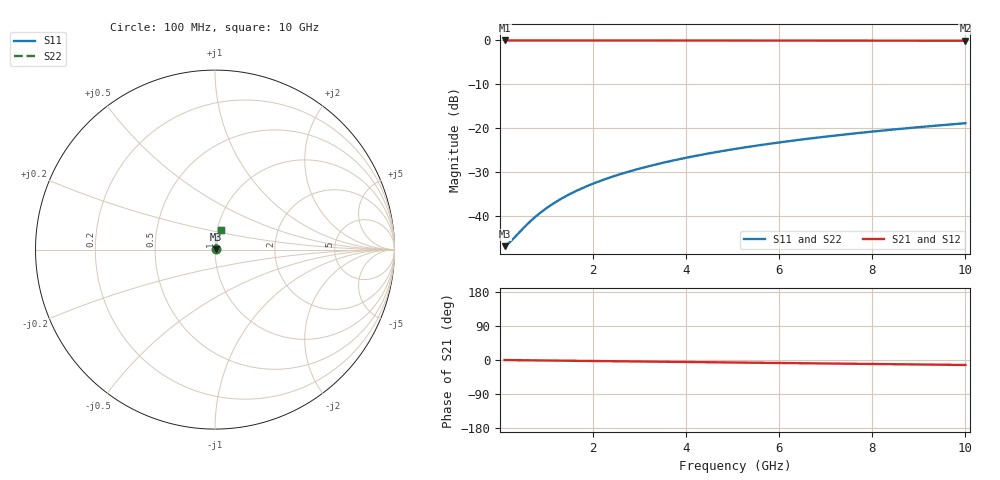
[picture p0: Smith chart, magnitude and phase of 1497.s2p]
# Hz S RI R 50.00
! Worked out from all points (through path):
!   100 points, 100 MHz to 10 GHz, reference 50 ohm
!   highest |S21| = -0.04 dB at 100 MHz (marker M1); lowest = -0.1 dB at 10 GHz (marker M2)
!   group delay of S21, straight-line fit = 3.64 ps
!   lowest |S11| = -46.7 dB at 100 MHz (marker M3), VSWR 1.01, Z = 50.4 + j0.116 ohm
!   |S11| at or under -10 dB: start of sweep to end of sweep
!   |S22| runs from -46.7 to -18.8 dB; largest |S21 - S12| = 0
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1e8  0.00446 0.00115  0.9955 -0.00228  0.9955 -0.00228  0.00446 0.00115
2e8  0.00449 0.00229  0.9955 -0.00456  0.9955 -0.00456  0.00449 0.00229
3e8  0.00453 0.00344  0.9955 -0.00684  0.9955 -0.00684  0.00453 0.00344
5e8  0.0046 0.00573  0.9954 -0.0114  0.9954 -0.0114  0.0046 0.00573
7e8  0.00469 0.00802  0.9953 -0.016  0.9953 -0.016  0.00469 0.00802
9e8  0.00479 0.0103  0.9951 -0.0205  0.9951 -0.0205  0.00479 0.0103
1.1e9  0.00492 0.0126  0.995 -0.0251  0.995 -0.0251  0.00492 0.0126
1.3e9  0.00506 0.0149  0.9948 -0.0296  0.9948 -0.0296  0.00506 0.0149
1.5e9  0.00522 0.0172  0.9946 -0.0342  0.9946 -0.0342  0.00522 0.0172
1.8e9  0.0055 0.0206  0.9943 -0.041  0.9943 -0.041  0.0055 0.0206
2.1e9  0.00582 0.024  0.9939 -0.0478  0.9939 -0.0478  0.00582 0.024
2.5e9  0.00632 0.0286  0.9932 -0.0569  0.9932 -0.0569  0.00632 0.0286
2.9e9  0.00691 0.0331  0.9925 -0.066  0.9925 -0.066  0.00691 0.0331
3.4e9  0.00775 0.0388  0.9915 -0.0774  0.9915 -0.0774  0.00775 0.0388
3.8e9  0.00852 0.0433  0.9905 -0.0864  0.9905 -0.0864  0.00852 0.0433
4.2e9  0.00937 0.0478  0.9894 -0.0955  0.9894 -0.0955  0.00937 0.0478
5.1e9  0.0116 0.0578  0.9867 -0.1158  0.9867 -0.1158  0.0116 0.0578
5.9e9  0.0139 0.0667  0.9838 -0.1337  0.9838 -0.1337  0.0139 0.0667
6.7e9  0.0165 0.0754  0.9805 -0.1516  0.9805 -0.1516  0.0165 0.0754
7.5e9  0.0195 0.084  0.9768 -0.1694  0.9768 -0.1694  0.0195 0.084
8.4e9  0.0232 0.0936  0.9722 -0.1892  0.9722 -0.1892  0.0232 0.0936
1e10  0.0307 0.1102  0.9627 -0.2241  0.9627 -0.2241  0.0307 0.1102
